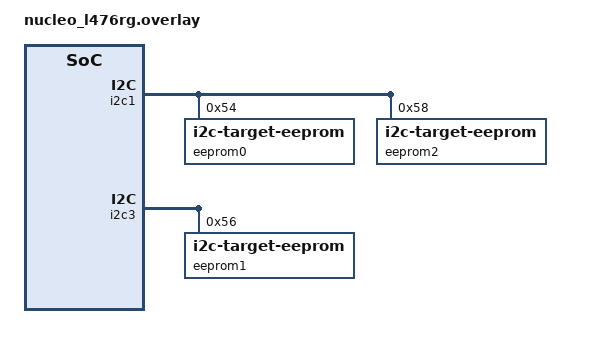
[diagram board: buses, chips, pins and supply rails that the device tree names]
/*
 * Copyright (c) 2020 Nordic Semiconductor ASA
 * SPDX-License-Identifier: Apache-2.0
 */

/* I2C bus pins are exposed in the Arduino Uno header.
 *
 *  Bus        SDA          SCL
 *          Pin   Hdr    Pin   Hdr
 *  i2c1    PB9   D14    PB8   D15
 *  i2c3    PC1   A4     PC0   A5
 *
 * Short D14 to A4, and D15 to A5, for the test to pass.
 */

&i2c1 {
	eeprom0: eeprom@54 {
		compatible = "zephyr,i2c-target-eeprom";
		reg = <0x54>;
		address-width = <16>;
		size = <1024>;
	};
	eeprom2: eeprom@58 {
		compatible = "zephyr,i2c-target-eeprom";
		reg = <0x58>;
		size = <4096>;
		address-width = <16>;
		read-only;
	};
};

&i2c3 {
	eeprom1: eeprom@56 {
		compatible = "zephyr,i2c-target-eeprom";
		reg = <0x56>;
		address-width = <16>;
		size = <1024>;
	};
};
